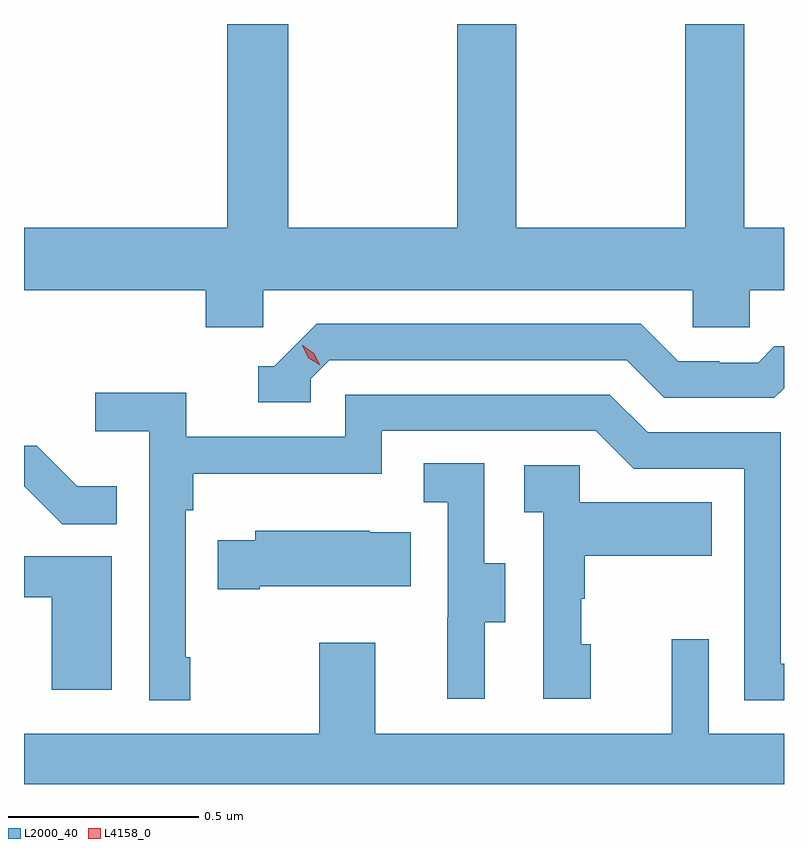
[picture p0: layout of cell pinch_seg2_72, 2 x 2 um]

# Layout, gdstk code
import gdstk
lib = gdstk.Library(unit=1e-6, precision=1e-09)
def P(c, l, *ps):  # polygons
    for p in ps: c.add(gdstk.Polygon(p, *l))
L2000_40 = (2000, 40)
L4158_0 = (4158, 0)

pinch_seg2_72 = lib.new_cell('pinch_seg2_72')
P(pinch_seg2_72, L2000_40, [(1029.036,655.628),(1030.167,655.628),(1030.167,655.53),(1030.317,655.53),(1030.317,655.628),(1030.407,655.628),(1030.407,655.792),(1030.302,655.792),(1030.302,656.328),(1030.147,656.328),(1030.147,655.792),(1029.702,655.792),(1029.702,656.328),(1029.547,656.328),(1029.547,655.792),(1029.102,655.792),(1029.102,656.328),(1028.942,656.328),(1028.942,655.792),(1028.407,655.792),(1028.407,655.628),(1028.885,655.628),(1028.885,655.53),(1029.036,655.53)],
  [(1029.162,655.395),(1029.21,655.443),(1029.993,655.443),(1030.092,655.344),(1030.381,655.344),(1030.407,655.37),(1030.407,655.48),(1030.381,655.48),(1030.339,655.437),(1030.236,655.437),(1030.236,655.44),(1030.129,655.44),(1030.03,655.539),(1029.177,655.539),(1029.066,655.428),(1029.023,655.428),(1029.023,655.332),(1029.162,655.332)],
  [(1028.845,654.661),(1028.832,654.661),(1028.832,655.049),(1028.852,655.049),(1028.852,655.145),(1029.348,655.145),(1029.348,655.257),(1029.912,655.257),(1030.011,655.158),(1030.302,655.158),(1030.302,654.549),(1030.407,654.549),(1030.407,654.645),(1030.398,654.645),(1030.398,655.254),(1030.048,655.254),(1029.949,655.353),(1029.252,655.353),(1029.252,655.242),(1028.834,655.242),(1028.834,655.358),(1028.595,655.358),(1028.595,655.256),(1028.736,655.256),(1028.736,654.549),(1028.845,654.549)],
  [(1028.651,655.111),(1028.547,655.111),(1028.44,655.218),(1028.407,655.218),(1028.407,655.11),(1028.409,655.11),(1028.507,655.012),(1028.651,655.012)],
  [(1029.619,654.754),(1029.673,654.754),(1029.673,654.909),(1029.618,654.909),(1029.618,655.172),(1029.459,655.172),(1029.459,655.069),(1029.522,655.069),(1029.522,654.765),(1029.521,654.765),(1029.521,654.552),(1029.619,654.552)],
  [(1029.898,654.696),(1029.873,654.696),(1029.873,654.815),(1029.882,654.815),(1029.882,654.929),(1030.217,654.929),(1030.217,655.069),(1029.87,655.069),(1029.87,655.167),(1029.723,655.167),(1029.723,655.043),(1029.774,655.043),(1029.774,654.552),(1029.898,654.552)],
  [(1029.028,654.848),(1029.425,654.848),(1029.425,654.991),(1029.317,654.991),(1029.317,654.994),(1029.015,654.994),(1029.015,654.97),(1028.917,654.97),(1028.917,654.841),(1029.028,654.841)],
  [(1028.638,654.927),(1028.407,654.927),(1028.407,654.819),(1028.48,654.819),(1028.48,654.576),(1028.638,654.576)],
  [(1030.407,654.46),(1030.209,654.46),(1030.209,654.709),(1030.112,654.709),(1030.112,654.46),(1029.331,654.46),(1029.331,654.7),(1029.184,654.7),(1029.184,654.46),(1028.407,654.46),(1028.407,654.328),(1030.407,654.328)])
P(pinch_seg2_72, L4158_0, [(1029.186,655.43),(1029.156,655.449),(1029.139,655.481),(1029.139,655.482),(1029.14,655.482),(1029.17,655.462),(1029.186,655.43),(1029.186,655.43)])

lib.write_gds('pinch_seg2_72.gds')
